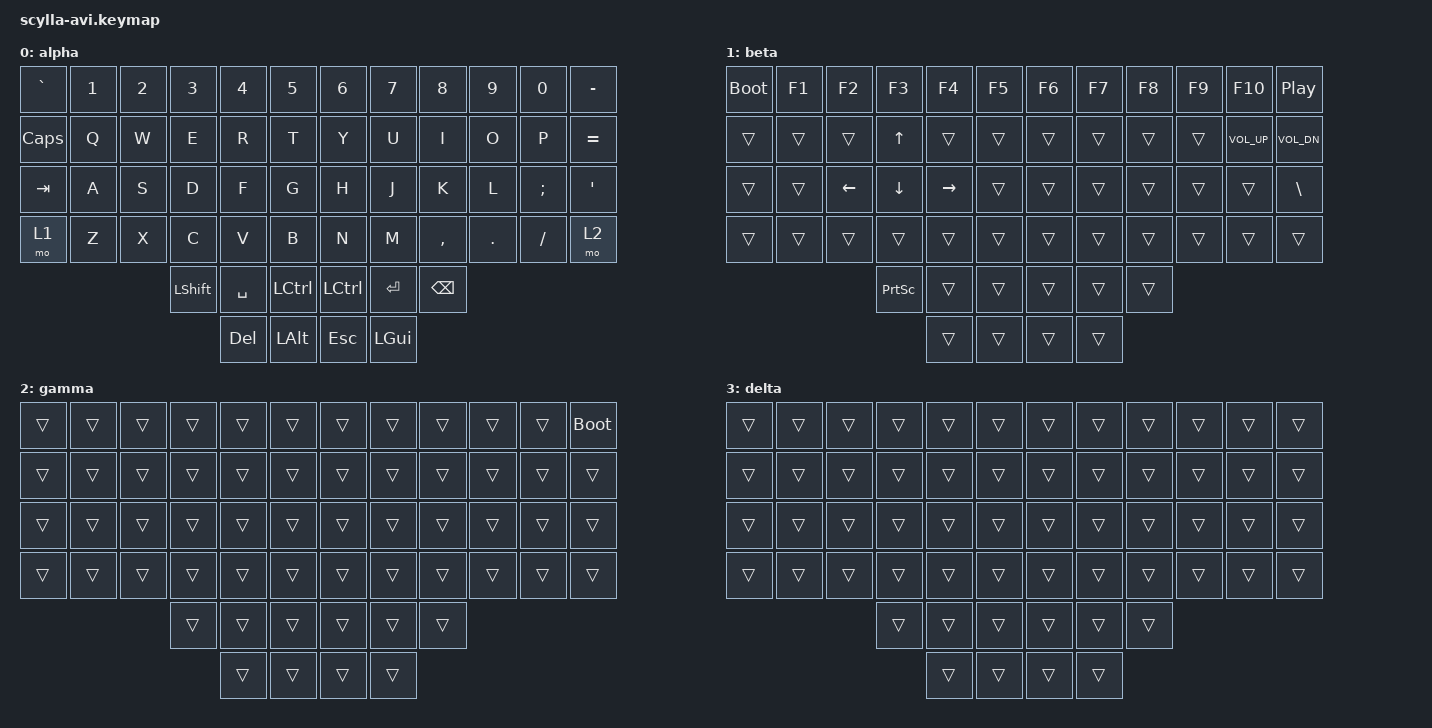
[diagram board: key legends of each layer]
#include <behaviors/mouse_keys.dtsi>
#include <dt-bindings/zmk/mouse.h>
#include <behaviors.dtsi>
#include <dt-bindings/zmk/keys.h>

/ {
    keymap {
        compatible = "zmk,keymap";

        alpha {
            bindings = <
&kp GRAVE     &kp N1  &kp N2  &kp N3          &kp N4     &kp N5        &kp N6      &kp N7    &kp N8     &kp N9   &kp N0    &kp MINUS
&kp CAPSLOCK  &kp Q   &kp W   &kp E           &kp R      &kp T         &kp Y       &kp U     &kp I      &kp O    &kp P     &kp EQUAL
&kp TAB       &kp A   &kp S   &kp D           &kp F      &kp G         &kp H       &kp J     &kp K      &kp L    &kp SEMI  &kp SINGLE_QUOTE
&mo 1         &kp Z   &kp X   &kp C           &kp V      &kp B         &kp N       &kp M     &kp COMMA  &kp DOT  &kp FSLH  &mo 2
                              &kp LEFT_SHIFT  &kp SPACE  &kp LCTRL     &kp LCTRL   &kp RET   &kp BSPC
                                              &kp DEL    &kp LEFT_ALT  &kp ESCAPE  &kp LGUI
            >;
        };

        beta {
            bindings = <
&bootloader  &kp F1  &kp F2    &kp F3           &kp F4     &kp F5  &kp F6  &kp F7  &kp F8  &kp F9  &kp F10          &kp C_PLAY_PAUSE
&trans       &trans  &trans    &kp UP_ARROW     &trans     &trans  &trans  &trans  &trans  &trans  &kp C_VOLUME_UP  &kp C_VOL_DN
&trans       &trans  &kp LEFT  &kp DOWN         &kp RIGHT  &trans  &trans  &trans  &trans  &trans  &trans           &kp BACKSLASH
&trans       &trans  &trans    &trans           &trans     &trans  &trans  &trans  &trans  &trans  &trans           &trans
                               &kp PRINTSCREEN  &trans     &trans  &trans  &trans  &trans
                                                &trans     &trans  &trans  &trans
            >;
        };

        gamma {
            bindings = <
&trans  &trans  &trans  &trans  &trans  &trans  &trans  &trans  &trans  &trans  &trans  &bootloader
&trans  &trans  &trans  &trans  &trans  &trans  &trans  &trans  &trans  &trans  &trans  &trans
&trans  &trans  &trans  &trans  &trans  &trans  &trans  &trans  &trans  &trans  &trans  &trans
&trans  &trans  &trans  &trans  &trans  &trans  &trans  &trans  &trans  &trans  &trans  &trans
                        &trans  &trans  &trans  &trans  &trans  &trans
                                &trans  &trans  &trans  &trans
            >;
        };

        delta {
            bindings = <
&trans  &trans  &trans  &trans  &trans  &trans  &trans  &trans  &trans  &trans  &trans  &trans
&trans  &trans  &trans  &trans  &trans  &trans  &trans  &trans  &trans  &trans  &trans  &trans
&trans  &trans  &trans  &trans  &trans  &trans  &trans  &trans  &trans  &trans  &trans  &trans
&trans  &trans  &trans  &trans  &trans  &trans  &trans  &trans  &trans  &trans  &trans  &trans
                        &trans  &trans  &trans  &trans  &trans  &trans
                                &trans  &trans  &trans  &trans
            >;
        };
    };
};
